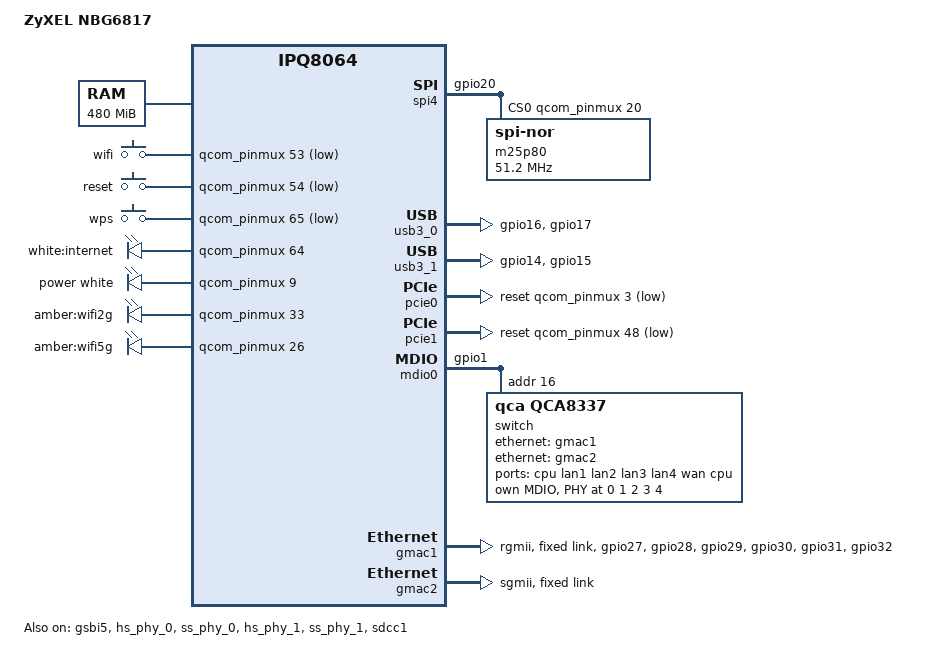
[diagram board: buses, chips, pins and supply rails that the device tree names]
#include "qcom-ipq8065-smb208.dtsi"

#include <dt-bindings/input/input.h>
#include <dt-bindings/leds/common.h>

/ {
	model = "ZyXEL NBG6817";
	compatible = "zyxel,nbg6817", "qcom,ipq8065", "qcom,ipq8064";

	memory@0 {
		reg = <0x42000000 0x1e000000>;
		device_type = "memory";
	};

	aliases {
		mdio-gpio0 = &mdio0;
		sdcc1 = &sdcc1;

		led-boot = &power;
		led-failsafe = &power;
		led-running = &power;
		led-upgrade = &power;
	};

	chosen {
		bootargs = "rootfstype=squashfs,ext4 rootwait noinitrd fstools_ignore_partname=1";
		append-rootblock = "root=/dev/mmcblk0p";
	};

	keys {
		compatible = "gpio-keys";
		pinctrl-0 = <&button_pins>;
		pinctrl-names = "default";

		wifi {
			label = "wifi";
			gpios = <&qcom_pinmux 53 GPIO_ACTIVE_LOW>;
			linux,code = <KEY_RFKILL>;
			linux,input-type = <EV_SW>;
			debounce-interval = <60>;
			wakeup-source;
		};

		reset {
			label = "reset";
			gpios = <&qcom_pinmux 54 GPIO_ACTIVE_LOW>;
			linux,code = <KEY_RESTART>;
			debounce-interval = <60>;
			wakeup-source;
		};

		wps {
			label = "wps";
			gpios = <&qcom_pinmux 65 GPIO_ACTIVE_LOW>;
			linux,code = <KEY_WPS_BUTTON>;
			debounce-interval = <60>;
			wakeup-source;
		};
	};

	leds {
		compatible = "gpio-leds";
		pinctrl-0 = <&led_pins>;
		pinctrl-names = "default";

		internet {
			label = "white:internet";
			gpios = <&qcom_pinmux 64 GPIO_ACTIVE_HIGH>;
		};

		power: power {
			function = LED_FUNCTION_POWER;
			color = <LED_COLOR_ID_WHITE>;
			gpios = <&qcom_pinmux 9 GPIO_ACTIVE_HIGH>;
			default-state = "keep";
		};

		wifi2g {
			label = "amber:wifi2g";
			gpios = <&qcom_pinmux 33 GPIO_ACTIVE_HIGH>;
		};

		/* wifi2g amber from the manual is missing */

		wifi5g {
			label = "amber:wifi5g";
			gpios = <&qcom_pinmux 26 GPIO_ACTIVE_HIGH>;
		};

		/* wifi5g amber from the manual is missing */
	};
};

&qcom_pinmux {
	button_pins: button_pins {
		mux {
			pins = "gpio53", "gpio54", "gpio65";
			function = "gpio";
			drive-strength = <2>;
			bias-pull-up;
		};
	};

	led_pins: led_pins {
		mux {
			pins = "gpio9", "gpio26", "gpio33", "gpio64";
			function = "gpio";
			drive-strength = <2>;
			bias-pull-down;
		};
	};

	mdio0_pins: mdio0-pins {
		clk {
			pins = "gpio1";
			input-disable;
		};
	};

	rgmii2_pins: rgmii2-pins {
		tx {
			pins = "gpio27", "gpio28", "gpio29", "gpio30", "gpio31", "gpio32" ;
			input-disable;
		};
	};

	spi_pins: spi_pins {
		cs {
			pins = "gpio20";
			drive-strength = <12>;
		};
	};

	usb0_pwr_en_pins: usb0_pwr_en_pins {
		mux {
			pins = "gpio16", "gpio17";
			function = "gpio";
			drive-strength = <12>;
		};

		pwr {
			pins = "gpio17";
			bias-pull-down;
			output-high;
		};

		ovc {
			pins = "gpio16";
			bias-pull-up;
		};
	};

	usb1_pwr_en_pins: usb1_pwr_en_pins {
		mux {
			pins = "gpio14", "gpio15";
			function = "gpio";
			drive-strength = <12>;
		};

		pwr {
			pins = "gpio14";
			bias-pull-down;
			output-high;
		};

		ovc {
			pins = "gpio15";
			bias-pull-up;
		};
	};
};

&gsbi5 {
	qcom,mode = <GSBI_PROT_SPI>;
	status = "okay";

	spi4: spi@1a280000 {
		status = "okay";

		pinctrl-0 = <&spi_pins>;
		pinctrl-names = "default";

		cs-gpios = <&qcom_pinmux 20 GPIO_ACTIVE_HIGH>;

		m25p80@0 {
			compatible = "jedec,spi-nor";
			#address-cells = <1>;
			#size-cells = <1>;
			spi-max-frequency = <51200000>;
			reg = <0>;

			partitions {
				compatible = "qcom,smem-part";
			};
		};
	};
};

&hs_phy_0 {
	status = "okay";
};

&ss_phy_0 {
	status = "okay";
};

&usb3_0 {
	status = "okay";

	pinctrl-0 = <&usb0_pwr_en_pins>;
	pinctrl-names = "default";
};

&hs_phy_1 {
	status = "okay";
};

&ss_phy_1 {
	status = "okay";
};

&usb3_1 {
	status = "okay";

	pinctrl-0 = <&usb1_pwr_en_pins>;
	pinctrl-names = "default";
};

&pcie0 {
	status = "okay";
	reset-gpios = <&qcom_pinmux 3 GPIO_ACTIVE_LOW>;
	pinctrl-0 = <&pcie0_pins>;
	pinctrl-names = "default";
};

&pcie1 {
	status = "okay";
	reset-gpios = <&qcom_pinmux 48 GPIO_ACTIVE_LOW>;
	pinctrl-0 = <&pcie1_pins>;
	pinctrl-names = "default";
	max-link-speed = <1>;
};

&mdio0 {
	status = "okay";

	pinctrl-0 = <&mdio0_pins>;
	pinctrl-names = "default";

	switch@10 {
		compatible = "qca,qca8337";
		#address-cells = <1>;
		#size-cells = <0>;
		reg = <0x10>;

		ports {
			#address-cells = <1>;
			#size-cells = <0>;

			port@0 {
				reg = <0>;
				label = "cpu";
				ethernet = <&gmac1>;
				phy-mode = "rgmii";
				tx-internal-delay-ps = <1000>;
				rx-internal-delay-ps = <1000>;

				fixed-link {
					speed = <1000>;
					full-duplex;
				};
			};

			port@1 {
				reg = <1>;
				label = "lan1";
				phy-mode = "internal";
				phy-handle = <&phy_port1>;
			};

			port@2 {
				reg = <2>;
				label = "lan2";
				phy-mode = "internal";
				phy-handle = <&phy_port2>;
			};

			port@3 {
				reg = <3>;
				label = "lan3";
				phy-mode = "internal";
				phy-handle = <&phy_port3>;
			};

			port@4 {
				reg = <4>;
				label = "lan4";
				phy-mode = "internal";
				phy-handle = <&phy_port4>;
			};

			port@5 {
				reg = <5>;
				label = "wan";
				phy-mode = "internal";
				phy-handle = <&phy_port5>;
			};

			port@6 {
				reg = <6>;
				label = "cpu";
				ethernet = <&gmac2>;
				phy-mode = "sgmii";
				qca,sgmii-enable-pll;

				fixed-link {
					speed = <1000>;
					full-duplex;
				};
			};
		};

		mdio {
			#address-cells = <1>;
			#size-cells = <0>;

			phy_port1: phy@0 {
				reg = <0>;
			};

			phy_port2: phy@1 {
				reg = <1>;
			};

			phy_port3: phy@2 {
				reg = <2>;
			};

			phy_port4: phy@3 {
				reg = <3>;
			};

			phy_port5: phy@4 {
				reg = <4>;
			};
		};
	};
};

&gmac1 {
	status = "okay";
	phy-mode = "rgmii";
	qcom,id = <1>;
	qcom,phy_mdio_addr = <4>;
	qcom,poll_required = <0>;
	qcom,rgmii_delay = <1>;
	qcom,phy_mii_type = <0>;
	qcom,emulation = <0>;
	qcom,irq = <255>;
	mdiobus = <&mdio0>;

	pinctrl-0 = <&rgmii2_pins>;
	pinctrl-names = "default";

	fixed-link {
		speed = <1000>;
		full-duplex;
	};
};

&gmac2 {
	status = "okay";
	phy-mode = "sgmii";
	qcom,id = <2>;
	qcom,phy_mdio_addr = <0>;	/* none */
	qcom,poll_required = <0>;	/* no polling */
	qcom,rgmii_delay = <0>;
	qcom,phy_mii_type = <1>;
	qcom,emulation = <0>;
	qcom,irq = <258>;
	mdiobus = <&mdio0>;

	fixed-link {
		speed = <1000>;
		full-duplex;
	};
};

&sdcc1 {
	status = "okay";
};

&adm_dma {
	status = "okay";
};
